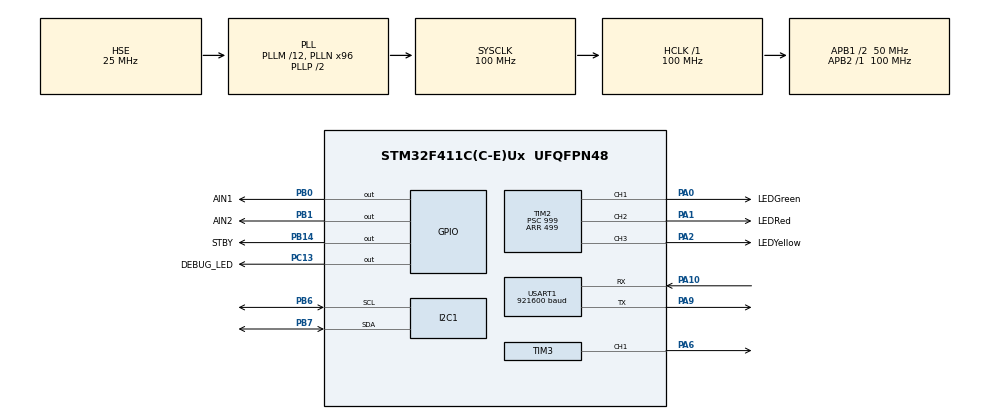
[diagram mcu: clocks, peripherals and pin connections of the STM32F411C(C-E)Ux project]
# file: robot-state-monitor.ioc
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Dma.I2C1_RX.2.Direction=DMA_PERIPH_TO_MEMORY
Dma.I2C1_RX.2.FIFOMode=DMA_FIFOMODE_DISABLE
Dma.I2C1_RX.2.Instance=DMA1_Stream0
Dma.I2C1_RX.2.MemDataAlignment=DMA_MDATAALIGN_BYTE
Dma.I2C1_RX.2.MemInc=DMA_MINC_ENABLE
Dma.I2C1_RX.2.Mode=DMA_NORMAL
Dma.I2C1_RX.2.PeriphDataAlignment=DMA_PDATAALIGN_BYTE
Dma.I2C1_RX.2.PeriphInc=DMA_PINC_DISABLE
Dma.I2C1_RX.2.Priority=DMA_PRIORITY_HIGH
Dma.Request0=USART1_RX
Dma.Request1=USART1_TX
Dma.Request2=I2C1_RX
Dma.USART1_RX.0.Direction=DMA_PERIPH_TO_MEMORY
Dma.USART1_RX.0.FIFOMode=DMA_FIFOMODE_DISABLE
Dma.USART1_RX.0.Instance=DMA2_Stream2
Dma.USART1_RX.0.MemDataAlignment=DMA_MDATAALIGN_BYTE
Dma.USART1_RX.0.MemInc=DMA_MINC_ENABLE
Dma.USART1_RX.0.Mode=DMA_CIRCULAR
Dma.USART1_RX.0.PeriphDataAlignment=DMA_PDATAALIGN_BYTE
Dma.USART1_RX.0.PeriphInc=DMA_PINC_DISABLE
Dma.USART1_RX.0.Priority=DMA_PRIORITY_LOW
Dma.USART1_TX.1.Direction=DMA_MEMORY_TO_PERIPH
Dma.USART1_TX.1.FIFOMode=DMA_FIFOMODE_DISABLE
Dma.USART1_TX.1.Instance=DMA2_Stream7
Dma.USART1_TX.1.MemDataAlignment=DMA_MDATAALIGN_BYTE
Dma.USART1_TX.1.MemInc=DMA_MINC_ENABLE
Dma.USART1_TX.1.Mode=DMA_CIRCULAR
Dma.USART1_TX.1.PeriphDataAlignment=DMA_PDATAALIGN_BYTE
Dma.USART1_TX.1.PeriphInc=DMA_PINC_DISABLE
Dma.USART1_TX.1.Priority=DMA_PRIORITY_LOW
FREERTOS.BinarySemaphores01=SensorSemaphore,Dynamic,NULL,Available
FREERTOS.Queues01=SensorQueue,10,SensorData_t,0,Dynamic,NULL,NULL
FREERTOS.Tasks01=SensorTask,48,1024,StartSensorTask,As weak,NULL,Dynamic,NULL,NULL;AlgTask,8,512,StartAlgTask,As weak,NULL,Dynamic,NULL,NULL;DefaultTask,8,128,StartDefaultTask,As weak,NULL,Dynamic,NULL,NULL;MotorTask,32,512,StartMotorTask,As weak,NULL,Dynamic,NULL,NULL
I2C1.I2C_Mode=I2C_Fast
Mcu.Family=STM32F4
Mcu.Name=STM32F411C(C-E)Ux
Mcu.Package=UFQFPN48
NVIC.DMA1_Stream0_IRQn=true\:5\:0\:false\:false\:true\:true\:false\:true\:true
NVIC.DMA2_Stream2_IRQn=true\:6\:0\:true\:false\:true\:true\:false\:true\:true
NVIC.DMA2_Stream7_IRQn=true\:6\:0\:true\:false\:true\:true\:false\:true\:true
NVIC.I2C1_ER_IRQn=true\:5\:0\:false\:false\:true\:true\:true\:true\:true
NVIC.I2C1_EV_IRQn=true\:5\:0\:false\:false\:true\:true\:true\:true\:true
NVIC.PriorityGroup=NVIC_PRIORITYGROUP_4
NVIC.TIM2_IRQn=true\:5\:0\:false\:false\:true\:true\:true\:true\:true
NVIC.TIM5_IRQn=true\:15\:0\:false\:false\:true\:false\:false\:true\:true
NVIC.TimeBase=TIM5_IRQn
NVIC.TimeBaseIP=TIM5
NVIC.USART1_IRQn=true\:6\:0\:true\:false\:true\:true\:true\:true\:true
PA0-WKUP.GPIO_Label=LEDGreen
PA0-WKUP.Signal=S_TIM2_CH1_ETR
PA1.GPIO_Label=LEDRed
PA1.Signal=S_TIM2_CH2
PA10.Mode=Asynchronous
PA10.Signal=USART1_RX
PA13.Mode=Serial_Wire
PA13.Signal=SYS_JTMS-SWDIO
PA14.Mode=Serial_Wire
PA14.Signal=SYS_JTCK-SWCLK
PA2.GPIO_Label=LEDYellow
PA2.Signal=S_TIM2_CH3
PA6.Signal=S_TIM3_CH1
PA9.Mode=Asynchronous
PA9.Signal=USART1_TX
PB0.GPIO_Label=AIN1
PB0.Signal=GPIO_Output
PB1.GPIO_Label=AIN2
PB1.Signal=GPIO_Output
PB14.GPIO_Label=STBY
PB14.Signal=GPIO_Output
PB6.Mode=I2C
PB6.Signal=I2C1_SCL
PB7.Mode=I2C
PB7.Signal=I2C1_SDA
PC13-ANTI_TAMP.GPIO_Label=DEBUG_LED
PC13-ANTI_TAMP.PinState=GPIO_PIN_SET
PC13-ANTI_TAMP.Signal=GPIO_Output
PH0\ -\ OSC_IN.Mode=HSE-External-Oscillator
PH0\ -\ OSC_IN.Signal=RCC_OSC_IN
PH1\ -\ OSC_OUT.Mode=HSE-External-Oscillator
PH1\ -\ OSC_OUT.Signal=RCC_OSC_OUT
ProjectManager.HeapSize=0x200
ProjectManager.StackSize=0x400
ProjectManager.TargetToolchain=CMake
RCC.48MHZClocksFreq_Value=50000000
RCC.AHBFreq_Value=100000000
RCC.APB1CLKDivider=RCC_HCLK_DIV2
RCC.APB1Freq_Value=50000000
RCC.APB1TimFreq_Value=100000000
RCC.APB2Freq_Value=100000000
RCC.APB2TimFreq_Value=100000000
RCC.CortexFreq_Value=100000000
RCC.HCLKFreq_Value=100000000
RCC.HSE_VALUE=25000000
RCC.HSI_VALUE=16000000
RCC.LSE_VALUE=32768
RCC.PLLM=12
RCC.PLLN=96
RCC.PLLSourceVirtual=RCC_PLLSOURCE_HSE
RCC.SYSCLKFreq_VALUE=100000000
RCC.SYSCLKSource=RCC_SYSCLKSOURCE_PLLCLK
RCC.VCOOutputFreq_Value=200000000
SH.S_TIM2_CH1_ETR.0=TIM2_CH1,PWM Generation1 CH1
SH.S_TIM2_CH2.0=TIM2_CH2,PWM Generation2 CH2
SH.S_TIM2_CH3.0=TIM2_CH3,PWM Generation3 CH3
SH.S_TIM3_CH1.0=TIM3_CH1,PWM Generation1 CH1
TIM2.AutoReloadPreload=TIM_AUTORELOAD_PRELOAD_ENABLE
TIM2.Channel-PWM\ Generation1\ CH1=TIM_CHANNEL_1
TIM2.Channel-PWM\ Generation2\ CH2=TIM_CHANNEL_2
TIM2.Channel-PWM\ Generation3\ CH3=TIM_CHANNEL_3
TIM2.Period=499
TIM2.Prescaler=999
TIM2.Pulse-PWM\ Generation2\ CH2=250
TIM3.AutoReloadPreload=TIM_AUTORELOAD_PRELOAD_ENABLE
TIM3.Channel-PWM\ Generation1\ CH1=TIM_CHANNEL_1
TIM3.Period=999
TIM3.Prescaler=4
USART1.BaudRate=921600
USART1.OverSampling=UART_OVERSAMPLING_8
USART1.VirtualMode=VM_ASYNC
VP_FREERTOS_VS_CMSIS_V2.Mode=CMSIS_V2
VP_SYS_VS_tim5.Mode=TIM5
VP_TIM2_VS_ClockSourceINT.Mode=Internal
VP_TIM3_VS_ClockSourceINT.Mode=Internal
board=custom

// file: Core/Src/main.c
/* USER CODE BEGIN Header */
/**
  ******************************************************************************
  * @file           : main.c
  * @brief          : Main program body
  ******************************************************************************
  * @attention
  *
  * Copyright (c) 2026 STMicroelectronics.
  * All rights reserved.
  *
  * This software is licensed under terms that can be found in the LICENSE file
  * in the root directory of this software component.
  * If no LICENSE file comes with this software, it is provided AS-IS.
  *
  ******************************************************************************
  */
/* USER CODE END Header */
#include "main.h"
#include "cmsis_os.h"
#include "dma.h"
#include "i2c.h"
#include "tim.h"
#include "usart.h"
#include "gpio.h"

/* USER CODE BEGIN Includes */
#include <stdio.h>
/* USER CODE END Includes */

void SystemClock_Config(void);
void MX_FREERTOS_Init(void);

/* USER CODE BEGIN 0 */

int __io_putchar(int ch)
{
  uint8_t c = (uint8_t)ch;
  HAL_UART_Transmit(&huart1, &c, 1, HAL_MAX_DELAY);
  return ch;
}

int __io_getchar(void)
{
  uint8_t ch = 0;
  HAL_UART_Receive(&huart1, &ch, 1, HAL_MAX_DELAY);
  return (int)ch;
}

/* USER CODE END 0 */

int main(void)
{

  /* MCU Configuration--------------------------------------------------------*/

  /* Reset of all peripherals, Initializes the Flash interface and the Systick. */
  HAL_Init();

  /* Configure the system clock */
  SystemClock_Config();

  /* Initialize all configured peripherals */
  MX_GPIO_Init();
  MX_DMA_Init();
  MX_I2C1_Init();
  MX_USART1_UART_Init();
  MX_TIM2_Init();
  MX_TIM3_Init();
  /* USER CODE BEGIN 2 */

  uint8_t mpu6050_found = 0;
  uint8_t who_am_i = 0;

  // 先检查 I2C 总线是否准备好
  HAL_StatusTypeDef bus_status = HAL_I2C_IsDeviceReady(&hi2c1, 0x68 << 1, 3, 100);
  printf("I2C Bus Status: %d\n", bus_status);

  HAL_StatusTypeDef status = HAL_I2C_Mem_Read(&hi2c1, 0x68 << 1, 0x75, I2C_MEMADD_SIZE_8BIT, &who_am_i, 1, 100);
  if (status == HAL_OK && who_am_i == 0x68) {
      mpu6050_found = 1;
  }
  if (mpu6050_found) {
      printf("MPU6050 found! WHO_AM_I = 0x%02X\n", who_am_i);
  } else {
      printf("MPU6050 NOT found! Status=%d, WHO_AM_I=0x%02X\n", status, who_am_i);
  }

  /* USER CODE END 2 */

  /* Init scheduler */
  osKernelInitialize();  /* Call init function for freertos objects (in cmsis_os2.c) */
  MX_FREERTOS_Init();

  /* Start scheduler */
  osKernelStart();

  /* We should never get here as control is now taken by the scheduler */

  /* Infinite loop */
  while (1)
  {

  }
}

void SystemClock_Config(void)
{
  RCC_OscInitTypeDef RCC_OscInitStruct = {0};
  RCC_ClkInitTypeDef RCC_ClkInitStruct = {0};

  /** Configure the main internal regulator output voltage
  */
  __HAL_RCC_PWR_CLK_ENABLE();
  __HAL_PWR_VOLTAGESCALING_CONFIG(PWR_REGULATOR_VOLTAGE_SCALE1);

  /** Initializes the RCC Oscillators according to the specified parameters
  * in the RCC_OscInitTypeDef structure.
  */
  RCC_OscInitStruct.OscillatorType = RCC_OSCILLATORTYPE_HSE;
  RCC_OscInitStruct.HSEState = RCC_HSE_ON;
  RCC_OscInitStruct.PLL.PLLState = RCC_PLL_ON;
  RCC_OscInitStruct.PLL.PLLSource = RCC_PLLSOURCE_HSE;
  RCC_OscInitStruct.PLL.PLLM = 12;
  RCC_OscInitStruct.PLL.PLLN = 96;
  RCC_OscInitStruct.PLL.PLLP = RCC_PLLP_DIV2;
  RCC_OscInitStruct.PLL.PLLQ = 4;
  if (HAL_RCC_OscConfig(&RCC_OscInitStruct) != HAL_OK)
  {
    Error_Handler();
  }

  /** Initializes the CPU, AHB and APB buses clocks
  */
  RCC_ClkInitStruct.ClockType = RCC_CLOCKTYPE_HCLK|RCC_CLOCKTYPE_SYSCLK
                              |RCC_CLOCKTYPE_PCLK1|RCC_CLOCKTYPE_PCLK2;
  RCC_ClkInitStruct.SYSCLKSource = RCC_SYSCLKSOURCE_PLLCLK;
  RCC_ClkInitStruct.AHBCLKDivider = RCC_SYSCLK_DIV1;
  RCC_ClkInitStruct.APB1CLKDivider = RCC_HCLK_DIV2;
  RCC_ClkInitStruct.APB2CLKDivider = RCC_HCLK_DIV1;

  if (HAL_RCC_ClockConfig(&RCC_ClkInitStruct, FLASH_LATENCY_3) != HAL_OK)
  {
    Error_Handler();
  }
}

void HAL_TIM_PeriodElapsedCallback(TIM_HandleTypeDef *htim)
{
  if (htim->Instance == TIM5)
  {
    HAL_IncTick();
  }
}

void Error_Handler(void)
{
  __disable_irq();
  while (1)
  {
  }
}

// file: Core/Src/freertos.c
/* USER CODE BEGIN Header */
/**
  ******************************************************************************
  * File Name          : freertos.c
  * Description        : Code for freertos applications
  ******************************************************************************
  * @attention
  *
  * Copyright (c) 2026 STMicroelectronics.
  * All rights reserved.
  *
  * This software is licensed under terms that can be found in the LICENSE file
  * in the root directory of this software component.
  * If no LICENSE file comes with this software, it is provided AS-IS.
  *
  ******************************************************************************
  */
/* USER CODE END Header */

#include "FreeRTOS.h"
#include "task.h"
#include "main.h"
#include "cmsis_os.h"
#include <math.h>

/* USER CODE BEGIN Includes */
#include "sensor_task.h"
#include "led_alarm.h"
#include "tb6612.h"
/* USER CODE END Includes */

/* USER CODE BEGIN PTD */
extern volatile float g_motor_linear_x;
extern volatile float g_motor_angular_z;
extern volatile uint32_t g_motor_cmd_recv_tick_ms;
extern volatile uint8_t g_motor_estop;

/* USER CODE END PTD */

/* USER CODE BEGIN PD */
#define MOTOR_TASK_PERIOD_MS             10U
#define MOTOR_CMD_TIMEOUT_MS             200U
#define MOTOR_LINEAR_X_FULL_SCALE_MPS    0.30f
#define MOTOR_ANGULAR_Z_FULL_SCALE_RADPS 1.50f
#define MOTOR_COMMAND_DEADBAND           0.05f

/* USER CODE END PD */

/* Definitions for SensorTask */
osThreadId_t SensorTaskHandle;
const osThreadAttr_t SensorTask_attributes = {
  .name = "SensorTask",
  .stack_size = 1024 * 4,
  .priority = (osPriority_t) osPriorityRealtime,
};
/* Definitions for AlgTask */
osThreadId_t AlgTaskHandle;
const osThreadAttr_t AlgTask_attributes = {
  .name = "AlgTask",
  .stack_size = 512 * 4,
  .priority = (osPriority_t) osPriorityLow,
};
/* Definitions for DefaultTask */
osThreadId_t DefaultTaskHandle;
const osThreadAttr_t DefaultTask_attributes = {
  .name = "DefaultTask",
  .stack_size = 128 * 4,
  .priority = (osPriority_t) osPriorityLow,
};
/* Definitions for MotorTask */
osThreadId_t MotorTaskHandle;
const osThreadAttr_t MotorTask_attributes = {
  .name = "MotorTask",
  .stack_size = 512 * 4,
  .priority = (osPriority_t) osPriorityAboveNormal,
};
/* Definitions for SensorQueue */
osMessageQueueId_t SensorQueueHandle;
const osMessageQueueAttr_t SensorQueue_attributes = {
  .name = "SensorQueue"
};
/* Definitions for SensorSemaphore */
osSemaphoreId_t SensorSemaphoreHandle;
const osSemaphoreAttr_t SensorSemaphore_attributes = {
  .name = "SensorSemaphore"
};

/* USER CODE BEGIN FunctionPrototypes */
static float clampMotorScalar(float value);
static int16_t mapCmdVelToMotorDuty(float linear_x, float angular_z);

/* USER CODE END FunctionPrototypes */

void StartSensorTask(void *argument);
void StartAlgTask(void *argument);
void StartDefaultTask(void *argument);
void StartMotorTask(void *argument);

void MX_FREERTOS_Init(void); /* (MISRA C 2004 rule 8.1) */

void MX_FREERTOS_Init(void) {
  /* USER CODE BEGIN Init */
  LED_Alarm_Init();
  if (!TB6612_Init()) {
    Error_Handler();
  }
  /* USER CODE END Init */

  /* Create the semaphores(s) */
  /* creation of SensorSemaphore */
  SensorSemaphoreHandle = osSemaphoreNew(1, 1, &SensorSemaphore_attributes);

  /* Create the queue(s) */
  /* creation of SensorQueue */
  SensorQueueHandle = osMessageQueueNew (10, sizeof(SensorData_t), &SensorQueue_attributes);

  /* Create the thread(s) */
  /* creation of SensorTask */
  SensorTaskHandle = osThreadNew(StartSensorTask, NULL, &SensorTask_attributes);

  /* creation of AlgTask */
  AlgTaskHandle = osThreadNew(StartAlgTask, NULL, &AlgTask_attributes);

  /* creation of DefaultTask */
  DefaultTaskHandle = osThreadNew(StartDefaultTask, NULL, &DefaultTask_attributes);

  /* creation of MotorTask */
  MotorTaskHandle = osThreadNew(StartMotorTask, NULL, &MotorTask_attributes);

}

__weak void StartSensorTask(void *argument)
{
  for(;;)
  {
    osDelay(1);
  }
}

__weak void StartAlgTask(void *argument)
{
  for(;;)
  {
    osDelay(1);
  }
}

__weak void StartDefaultTask(void *argument)
{
  /* USER CODE BEGIN StartDefaultTask */
  /* Infinite loop */
  for(;;)
  {
    HAL_GPIO_TogglePin(DEBUG_LED_GPIO_Port, DEBUG_LED_Pin);
    osDelay(500);
  }
  /* USER CODE END StartDefaultTask */
}

__weak void StartMotorTask(void *argument)
{
  /* USER CODE BEGIN StartMotorTask */
  (void)argument;

  for(;;)
  {
    uint32_t now_ms = HAL_GetTick();
    uint32_t recv_tick_ms = g_motor_cmd_recv_tick_ms;
    uint8_t estop = g_motor_estop;

    if (estop || recv_tick_ms == 0U || (now_ms - recv_tick_ms) > MOTOR_CMD_TIMEOUT_MS) {
      TB6612_EmergencyStop();
      osDelay(MOTOR_TASK_PERIOD_MS);
      continue;
    }

    TB6612_SetStandby(1U);

    int16_t duty = mapCmdVelToMotorDuty(g_motor_linear_x, g_motor_angular_z);
    if (duty == 0) {
      TB6612_MotorA_Stop();
    } else {
      TB6612_MotorA_SetDuty(duty);
    }

    osDelay(MOTOR_TASK_PERIOD_MS);
  }
  /* USER CODE END StartMotorTask */
}

/* USER CODE BEGIN Application */

static float clampMotorScalar(float value)
{
  if (value > 1.0f) {
    return 1.0f;
  }
  if (value < -1.0f) {
    return -1.0f;
  }
  return value;
}

static int16_t mapCmdVelToMotorDuty(float linear_x, float angular_z)
{
  float command = linear_x / MOTOR_LINEAR_X_FULL_SCALE_MPS;

  if (fabsf(command) < MOTOR_COMMAND_DEADBAND) {
    command = angular_z / MOTOR_ANGULAR_Z_FULL_SCALE_RADPS;
  }

  command = clampMotorScalar(command);
  if (fabsf(command) < MOTOR_COMMAND_DEADBAND) {
    return 0;
  }

  return (int16_t)(command * (float)TB6612_MotorA_GetMaxDuty());
}

/* USER CODE END Application */
